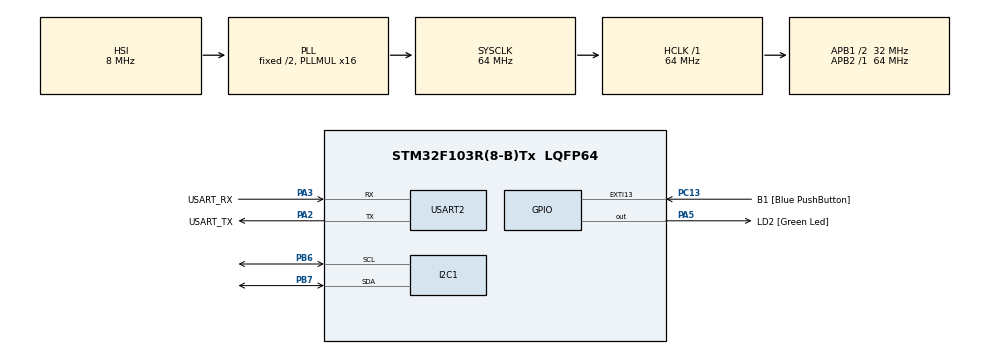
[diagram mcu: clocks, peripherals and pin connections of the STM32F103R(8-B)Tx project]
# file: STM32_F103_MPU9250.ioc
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I2C1.I2C_Mode=I2C_Standard
Mcu.Family=STM32F1
Mcu.Name=STM32F103R(8-B)Tx
Mcu.Package=LQFP64
NVIC.EXTI15_10_IRQn=true\:0\:0\:false\:false\:true\:true\:true
NVIC.PriorityGroup=NVIC_PRIORITYGROUP_4
PA13.GPIO_Label=TMS
PA13.Mode=Serial_Wire
PA13.Signal=SYS_JTMS-SWDIO
PA14.GPIO_Label=TCK
PA14.Mode=Serial_Wire
PA14.Signal=SYS_JTCK-SWCLK
PA2.GPIO_Label=USART_TX
PA2.GPIO_Mode=GPIO_MODE_AF_PP
PA2.GPIO_PuPd=GPIO_NOPULL
PA2.GPIO_Speed=GPIO_SPEED_FREQ_LOW
PA2.Mode=Asynchronous
PA2.Signal=USART2_TX
PA3.GPIO_Label=USART_RX
PA3.GPIO_Mode=GPIO_MODE_AF_PP
PA3.GPIO_PuPd=GPIO_NOPULL
PA3.GPIO_Speed=GPIO_SPEED_FREQ_LOW
PA3.Mode=Asynchronous
PA3.Signal=USART2_RX
PA5.GPIO_Label=LD2 [Green Led]
PA5.GPIO_ModeDefaultOutputPP=GPIO_MODE_OUTPUT_PP
PA5.GPIO_PuPd=GPIO_NOPULL
PA5.GPIO_Speed=GPIO_SPEED_FREQ_LOW
PA5.Signal=GPIO_Output
PB3.GPIO_Label=SWO
PB3.Signal=SYS_JTDO-TRACESWO
PB6.Mode=I2C
PB6.Signal=I2C1_SCL
PB7.Mode=I2C
PB7.Signal=I2C1_SDA
PC13-TAMPER-RTC.GPIO_Label=B1 [Blue PushButton]
PC13-TAMPER-RTC.GPIO_PuPd=GPIO_NOPULL
PC13-TAMPER-RTC.Signal=GPXTI13
PC14-OSC32_IN.Mode=LSE-External-Oscillator
PC14-OSC32_IN.Signal=RCC_OSC32_IN
PC15-OSC32_OUT.Mode=LSE-External-Oscillator
PC15-OSC32_OUT.Signal=RCC_OSC32_OUT
PD0-OSC_IN.Mode=HSE-External-Clock-Source
PD0-OSC_IN.Signal=RCC_OSC_IN
PD1-OSC_OUT.Mode=HSE-External-Clock-Source
PD1-OSC_OUT.Signal=RCC_OSC_OUT
ProjectManager.HeapSize=0x200
ProjectManager.StackSize=0x400
ProjectManager.TargetToolchain=TrueSTUDIO
RCC.AHBFreq_Value=64000000
RCC.APB1CLKDivider=RCC_HCLK_DIV2
RCC.APB1Freq_Value=32000000
RCC.APB1TimFreq_Value=64000000
RCC.APB2Freq_Value=64000000
RCC.APB2TimFreq_Value=64000000
RCC.HCLKFreq_Value=64000000
RCC.PLLMUL=RCC_PLL_MUL16
RCC.RTCClockSelection=RCC_RTCCLKSOURCE_LSE
RCC.SYSCLKFreq_VALUE=64000000
RCC.SYSCLKSource=RCC_SYSCLKSOURCE_PLLCLK
RCC.USBFreq_Value=64000000
USART2.VirtualMode=VM_ASYNC
board=NUCLEO-F103RB

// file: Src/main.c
/* USER CODE BEGIN Header */
/**
  ******************************************************************************
  * @file           : main.c
  * @brief          : Main program body
  ******************************************************************************
  * @attention
  *
  * <h2><center>&copy; Copyright (c) 2019 STMicroelectronics.
  * All rights reserved.</center></h2>
  *
  * This software component is licensed by ST under BSD 3-Clause license,
  * the "License"; You may not use this file except in compliance with the
  * License. You may obtain a copy of the License at:
  *                        opensource.org/licenses/BSD-3-Clause
  *
  ******************************************************************************
  */
/* USER CODE END Header */

#include "main.h"
#include "i2c.h"
#include "usart.h"
#include "gpio.h"

/* USER CODE BEGIN Includes */
#include "mpu9250.h"
/* USER CODE END Includes */

/* USER CODE BEGIN PV */
uint32_t I_Time_Start = 0;
uint32_t I_Time_Stop = 0;
float dt = 0;

struct MPU9250 mpu1;

uint8_t MPU9250_status = 0;

int16_t Acce_X_global = 0, Acce_Y_global = 0, Acce_Z_global = 0;
int16_t Gyro_X_global = 0, Gyro_Y_global = 0, Gyro_Z_global = 0;
int16_t Mag_X_global  = 0, Mag_Y_global  = 0, Mag_Z_global  = 0;

float Acce_X_offset_global = 0, Acce_Y_offset_global = 0, Acce_Z_offset_global = 0;
float Gyro_X_offset_global = 0 , Gyro_Y_offset_global = 0, Gyro_Z_offset_global = 0;
float Mag_X_offset_global = 0, Mag_Y_offset_global = 0, Mag_Z_offset_global = 0;

float Acce_X_g_global = 0, Acce_Y_g_global = 0, Acce_Z_g_global = 0;
float Gyro_X_dgs_global = 0, Gyro_Y_dgs_global = 0, Gyro_Z_dgs_global = 0;
float Mag_X_uT_global = 0, Mag_Y_uT_global = 0, Mag_Z_uT_global = 0;

float Acce_Roll_global = 0, Acce_Pitch_global = 0;
float Gyro_Roll_global = 0, Gyro_Pitch_global = 0, Gyro_Yaw_global = 0;
float Mag_Yaw_global = 0;

float Acce_AlphaBeta_Roll_global = 0, Acce_AlphaBeta_Pitch_global = 0;
float Gyro_AlphaBeta_Roll_global = 0, Gyro_AlphaBeta_Pitch_global = 0, Gyro_AlphaBeta_Yaw_global = 0;
float Mag_AlphaBeta_Yaw_global = 0;

float Complementary_Roll = 0, Complementary_Pitch = 0, Complementary_Yaw = 0;
/* USER CODE END PV */

void SystemClock_Config(void);

int main(void)
{

  /* MCU Configuration--------------------------------------------------------*/

  /* Reset of all peripherals, Initializes the Flash interface and the Systick. */
  HAL_Init();

  /* Configure the system clock */
  SystemClock_Config();

  /* Initialize all configured peripherals */
  MX_GPIO_Init();
  MX_I2C1_Init();
  MX_USART2_UART_Init();
  /* USER CODE BEGIN 2 */
  HAL_Delay(100);

  if( MPU9250_Init(&hi2c1, &mpu1, MPU9250_Device_1, MPU9250_Acce_2G, MPU9250_Gyro_2000s) == MPU9250_Init_OK) {

	  /*
	  if( MPU9250_Calibration(&hi2c1, &mpu1) == MPU9250_Calib_OK ) {

		  for(int i = 0; i < 3; ++i) {

			  HAL_GPIO_WritePin(LD2_GPIO_Port, LD2_Pin, GPIO_PIN_SET);
			  HAL_Delay(200);
			  HAL_GPIO_WritePin(LD2_GPIO_Port, LD2_Pin, GPIO_PIN_RESET);
			  HAL_Delay(200);
		  }
	  }
	  */

	  if( MPU9250_Set_Offsets(&hi2c1, &mpu1,
			  	  	  	  20.656, -167.292, 274.652,
						  -0.836, -3.57, 14.693,
						  24, 146, -92.5) == MPU9250_Offset_OK ) {

		  for(int i = 0; i < 3; ++i) {

			  HAL_GPIO_WritePin(LD2_GPIO_Port, LD2_Pin, GPIO_PIN_SET);
		  	  HAL_Delay(200);
			  HAL_GPIO_WritePin(LD2_GPIO_Port, LD2_Pin, GPIO_PIN_RESET);
 			  HAL_Delay(200);
  		  }
	  }

	  MPU9250_status = 1;
  }
  else {

	  MPU9250_status = 0;
	  HAL_GPIO_TogglePin(LD2_GPIO_Port, LD2_Pin);
  }

  HAL_Delay(100);
  /* USER CODE END 2 */

  /* Infinite loop */
  /* USER CODE BEGIN WHILE */
  while (1)
  {
	  I_Time_Start = I_Time_Stop;
	  I_Time_Stop = HAL_GetTick();
	  dt = (float)( I_Time_Stop - I_Time_Start ) / 1000;

	  if (MPU9250_status == 1) {

		  MPU9250_Calculate_RPY(&hi2c1, &mpu1, dt);

		  AlphaBeta_filter(&mpu1, 0.2, 0.05, 0, 0, 0, 0, dt);
		  Complementary_filter(&mpu1, 0.02, dt);

		  Acce_X_offset_global = mpu1.Accelerometer_X_offset, Acce_Y_offset_global = mpu1.Accelerometer_Y_offset, Acce_Z_offset_global = mpu1.Accelerometer_Z_offset;
		  Gyro_X_offset_global = mpu1.Gyroscope_X_offset , Gyro_Y_offset_global = mpu1.Gyroscope_Y_offset, Gyro_Z_offset_global = mpu1.Gyroscope_Z_offset;
		  Mag_X_offset_global = mpu1.Magnetometer_X_offset, Mag_Y_offset_global = mpu1.Magnetometer_Y_offset, Mag_Z_offset_global = mpu1.Magnetometer_Z_offset;

		  Acce_X_global = mpu1.Accelerometer_X; Acce_Y_global = mpu1.Accelerometer_Y; Acce_Z_global = mpu1.Accelerometer_Z;
		  Gyro_X_global = mpu1.Gyroscope_X; Gyro_Y_global = mpu1.Gyroscope_Y; Gyro_Z_global = mpu1.Gyroscope_Z;
		  Mag_X_global  = mpu1.Magnetometer_X; Mag_Y_global  = mpu1.Magnetometer_Y; Mag_Z_global  = mpu1.Magnetometer_Z;

		  Acce_X_g_global = mpu1.Accelerometer_X_g; Acce_Y_g_global = mpu1.Accelerometer_Y_g; Acce_Z_g_global = mpu1.Accelerometer_Z_g;
		  Gyro_X_dgs_global = mpu1.Gyroscope_X_dgs; Gyro_Y_dgs_global = mpu1.Gyroscope_Y_dgs; Gyro_Z_dgs_global = mpu1.Gyroscope_Z_dgs;
		  Mag_X_uT_global = mpu1.Magnetometer_X_uT; Mag_Y_uT_global = mpu1.Magnetometer_Y_uT; Mag_Z_uT_global = mpu1.Magnetometer_Z_uT;

		  Acce_Roll_global = mpu1.Accelerometer_Roll, Acce_Pitch_global = mpu1.Accelerometer_Pitch;
		  Gyro_Roll_global = mpu1.Gyroscope_Roll, Gyro_Pitch_global = mpu1.Gyroscope_Pitch, Gyro_Yaw_global = mpu1.Gyroscope_Yaw;
		  Mag_Yaw_global = mpu1.Magnetometer_Yaw;

		  Acce_AlphaBeta_Roll_global  = mpu1.Acce_AlphaBeta_Roll; Acce_AlphaBeta_Pitch_global = mpu1.Acce_AlphaBeta_Pitch;
		  Gyro_AlphaBeta_Roll_global = mpu1.Gyroscope_AlphaBeta_Roll, Gyro_AlphaBeta_Pitch_global = mpu1.Gyroscope_AlphaBeta_Pitch, Gyro_AlphaBeta_Yaw_global = mpu1.Gyroscope_AlphaBeta_Yaw;
		  Mag_AlphaBeta_Yaw_global = mpu1.Magnetometer_AlphaBeta_Yaw;

		  Complementary_Roll	= mpu1.Complementary_filter_Roll,
		  Complementary_Pitch	= mpu1.Complementary_filter_Pitch,
		  Complementary_Yaw 	= mpu1.Complementary_filter_Yaw;
	  }

	  HAL_Delay(10);

    /* USER CODE END WHILE */

  }
}

void SystemClock_Config(void)
{
  RCC_OscInitTypeDef RCC_OscInitStruct = {0};
  RCC_ClkInitTypeDef RCC_ClkInitStruct = {0};

  /** Initializes the CPU, AHB and APB busses clocks
  */
  RCC_OscInitStruct.OscillatorType = RCC_OSCILLATORTYPE_HSI;
  RCC_OscInitStruct.HSIState = RCC_HSI_ON;
  RCC_OscInitStruct.HSICalibrationValue = RCC_HSICALIBRATION_DEFAULT;
  RCC_OscInitStruct.PLL.PLLState = RCC_PLL_ON;
  RCC_OscInitStruct.PLL.PLLSource = RCC_PLLSOURCE_HSI_DIV2;
  RCC_OscInitStruct.PLL.PLLMUL = RCC_PLL_MUL16;
  if (HAL_RCC_OscConfig(&RCC_OscInitStruct) != HAL_OK)
  {
    Error_Handler();
  }
  /** Initializes the CPU, AHB and APB busses clocks
  */
  RCC_ClkInitStruct.ClockType = RCC_CLOCKTYPE_HCLK|RCC_CLOCKTYPE_SYSCLK
                              |RCC_CLOCKTYPE_PCLK1|RCC_CLOCKTYPE_PCLK2;
  RCC_ClkInitStruct.SYSCLKSource = RCC_SYSCLKSOURCE_PLLCLK;
  RCC_ClkInitStruct.AHBCLKDivider = RCC_SYSCLK_DIV1;
  RCC_ClkInitStruct.APB1CLKDivider = RCC_HCLK_DIV2;
  RCC_ClkInitStruct.APB2CLKDivider = RCC_HCLK_DIV1;

  if (HAL_RCC_ClockConfig(&RCC_ClkInitStruct, FLASH_LATENCY_2) != HAL_OK)
  {
    Error_Handler();
  }
}

void Error_Handler(void)
{
}

/************************ (C) COPYRIGHT STMicroelectronics *****END OF FILE****/
